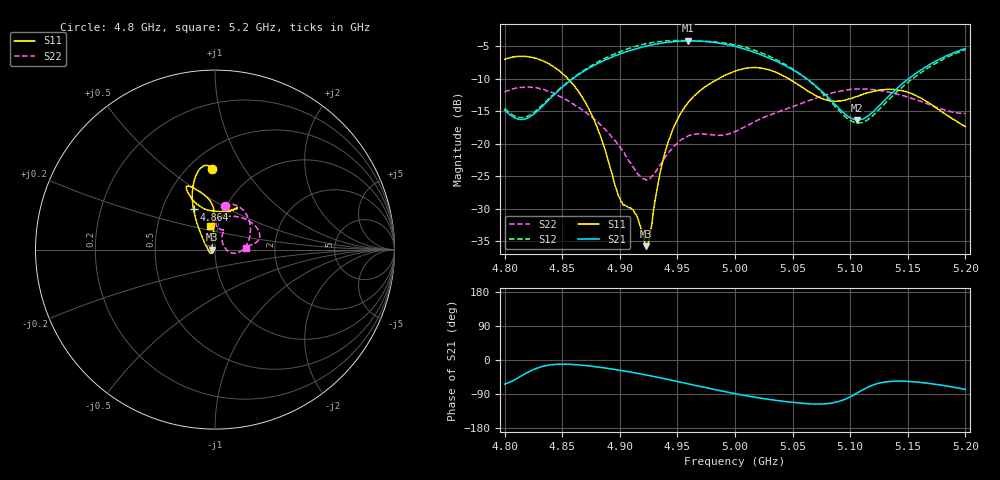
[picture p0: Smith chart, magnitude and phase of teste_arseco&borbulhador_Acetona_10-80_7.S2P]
! Network Analyzer HP8722D
! Hewlett-Packard
! Data name: Linha & Wilkinson
! Saver's name: Rodrigo Anjos
! Comments: Teste da utilização de aquisição
! continua pelo VNA HP8722D
! Time and date: 25/4/2025 15:19
!  Frequency  S11  S21  S12  S22
# HZ  S  MA R 50
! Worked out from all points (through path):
!   401 points, 4.8 GHz to 5.2 GHz, reference 50 ohm
!   highest |S21| = -4.14 dB at 4.959 GHz (marker M1); lowest = -16.3 dB at 5.106 GHz (marker M2)
!   lowest |S11| = -35.7 dB at 4.923 GHz (marker M3), VSWR 1.03, Z = 48.4 + j0.053 ohm
!   |S11| at or under -10 dB: 4.855 GHz to 4.986 GHz (130.5 MHz wide, 2.65 % of centre); 5.047 GHz to end of sweep
!   |S22| runs from -25.6 to -11.2 dB; largest |S21 - S12| = 1.2
!   S11 on the Smith chart (normalised r, x): 4.8 GHz: 0.65, +0.73; 4.864 GHz: 0.72, +0.34; 5.2 GHz: 0.92, +0.25
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4.8e9  0.447 91.9  0.1824 -63.9  0.1874 69.3  0.2503 76.9
4.82e9  0.4674 98.2  0.158 -32.7  0.1634 98.0  0.2738 61.9
4.843e9  0.3897 107.7  0.239 -12.0  0.243 118.5  0.2433 37.6
4.864e9  0.2538 118.1  0.3405 -12.8  0.3433 120.7  0.1912 13.8
4.867e9  0.2315 119.7  0.354 -13.7  0.3591 120.4  0.1839 10.6
4.882e9  0.1229 130.9  0.4206 -19.0  0.4331 117.6  0.1436 -3.7
4.9e9  0.03826 -178.4  0.4913 -26.9  0.5114 111.6  0.09438 -11.5
4.913e9  0.02943 -136.1  0.536 -34.0  0.5615 105.6  0.06342 -0.0
4.923e9  0.01632 178.1  0.5659 -39.5  0.5921 100.1  0.05251 25.3
4.926e9  0.01962 142.0  0.5738 -41.5  0.5966 98.2  0.05396 34.5
4.934e9  0.05386 103.1  0.5905 -46.3  0.6129 93.2  0.0671 53.1
4.945e9  0.1222 93.0  0.6092 -53.5  0.6221 86.4  0.09097 63.5
4.959e9  0.2058 91.1  0.6207 -62.7  0.6246 77.2  0.1147 65.1
4.975e9  0.2783 96.3  0.6128 -73.0  0.6163 67.1  0.1188 67.0
5e9  0.3624 109.1  0.5621 -88.9  0.579 50.8  0.1247 84.1
5.03e9  0.3705 115.2  0.455 -104.3  0.4709 33.7  0.166 84.2
5.067e9  0.2439 106.8  0.2945 -115.9  0.2915 23.4  0.2194 56.7
5.085e9  0.2136 89.8  0.2092 -113.3  0.2027 27.8  0.2475 40.3
5.106e9  0.2313 69.3  0.1525 -87.2  0.1447 55.7  0.2641 24.7
5.134e9  0.2624 61.7  0.2355 -56.8  0.2207 88.6  0.2497 12.5
5.169e9  0.2046 74.8  0.4078 -61.9  0.3909 84.7  0.1998 7.3
5.2e9  0.1357 101.5  0.5413 -77.4  0.5296 70.2  0.1707 3.3
